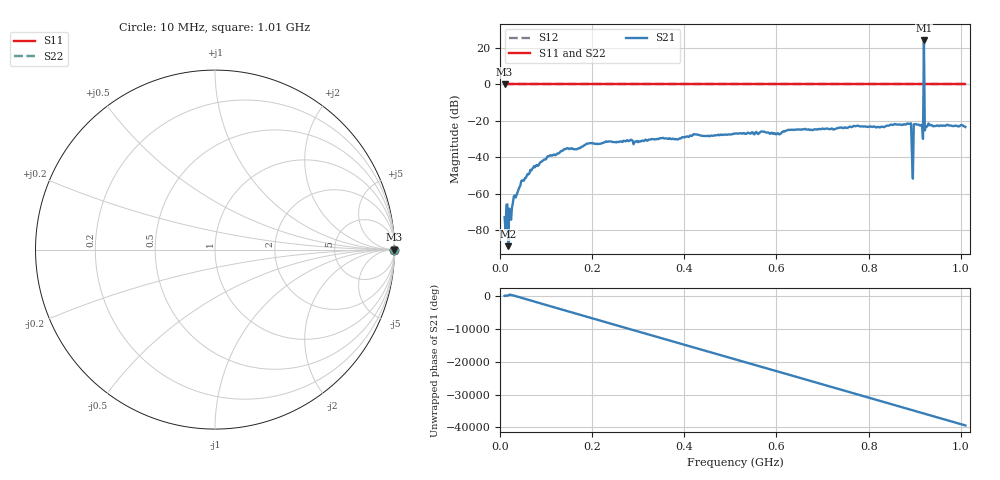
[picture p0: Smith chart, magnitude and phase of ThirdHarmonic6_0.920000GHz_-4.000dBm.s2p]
! 8/16/2025 6:02:58 AM
! C:\ANRITSUVNA\TEMP\TEMP.S2P
! CHANNEL.1
! TR.MEASUREMENT
! RAW.DATA
! RF.CORRECTION.OFF
! AVERAGING.OFF
! IF.BANDWIDTH: 5KHZ
! SWEEPTYPE:  FREQ.SWEEP(Linear)
! Reference Plane Port Info
! PORT:  PORT1  PORT2
! DISTANCE:  0  m  0  m
! TIME:  0  s  0  s
! PHASE.OFFSET:  0  deg.  0  deg.
! LOSS:  0  dB  0  dB
! REF.LOSS:  0  dB  0  dB
! REF.FREQ:  0  Hz  0  Hz
! Power Info
! POWER:  -20  dBm  -20  dBm
! EFF.POWER:  -20  dBm  -20  dBm
! SOURCE.ATTEN:  0  dB  0  dB
! TEST.ATTEN:  0  dB  0  dB
# GHZ S RI R 50.0
! FREQ.GHZ  S11RE  S11IM  S21RE  S21IM  S12RE  S12IM  S22RE  S22IM
!; PortSelection: Port_12
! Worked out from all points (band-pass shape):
!   501 points, 10 MHz to 1.01 GHz, reference 50 ohm
!   highest |S21| = 24.00 dB at 920 MHz (marker M1); lowest = -88.9 dB at 18 MHz (marker M2)
!   |S21| within 3 dB of the highest: 919.889 MHz to 920.1215 MHz (232.6 kHz wide, 0.0253 % of centre)
!   lowest |S11| = 0.0 dB at 10 MHz (marker M3)
!   |S11| at or under -10 dB: nowhere
!   |S22| runs from 0.0 to 0.0 dB; largest |S21 - S12| = 16
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0.01  1 0  0.00021 -7.26e-05  1 0  1 0
0.018  1 0  -3.38e-05 1.21e-05  1 0  1 0
0.022  1 0  0.000253 0.000191  1 0  1 0
0.03  1 0  4.45e-05 0.000834  1 0  1 0
0.044  1 0  -0.000865 -0.00136  1 0  1 0
0.07  1 0  0.000833 -0.00469  1 0  1 0
0.106  1 0  -0.00748 -0.00746  1 0  1 0
0.178  1 0  -0.0188 -0.00496  1 0  1 0
0.344  1 0  0.0308 -0.00397  1 0  1 0
0.51  1 0  -0.0433 0.00988  1 0  1 0
0.678  1 0  -0.013 -0.0531  1 0  1 0
0.844  1 0  0.0384 0.0623  1 0  1 0
0.888  1 0  0.0142 0.0795  1 0  1 0
0.892  1 0  0.0113 -0.0837  1 0  1 0
0.898  1 0  0.0646 0.0454  1 0  1 0
0.902  1 0  -0.0498 -0.0628  1 0  1 0
0.914  1 0  -0.0244 0.069  1 0  1 0
0.916  1 0  0.0672 0.0386  1 0  1 0
0.92  1 0  2.718 -15.62  1 0  1 0
0.924  1 0  0.0304 0.0625  1 0  1 0
0.926  1 0  0.0665 -0.0136  1 0  1 0
1.01  1 0  -0.0617 -0.0261  1 0  1 0
